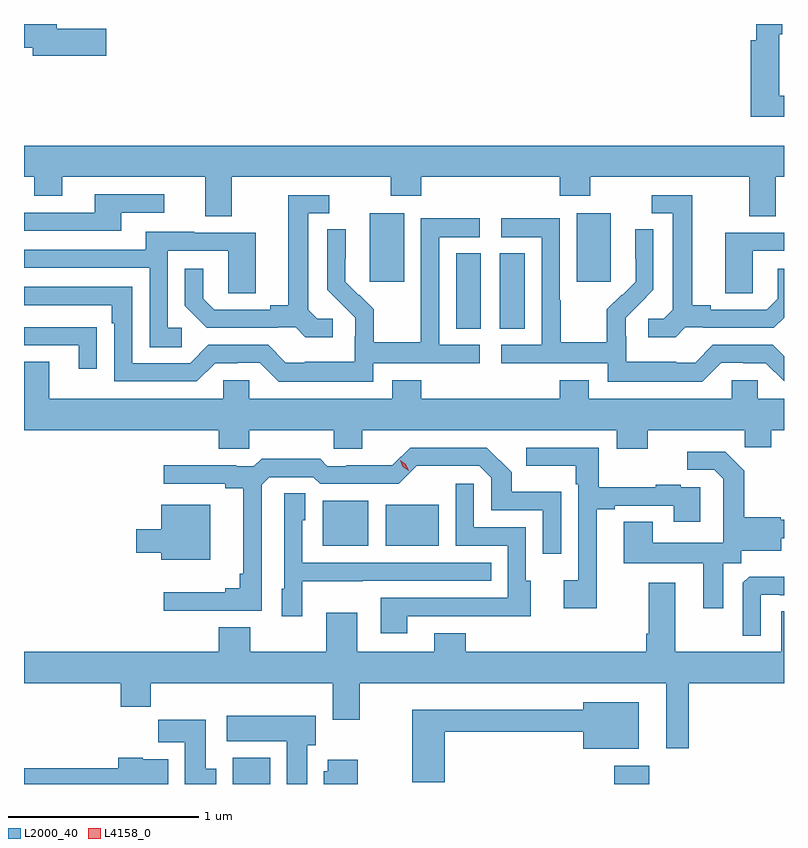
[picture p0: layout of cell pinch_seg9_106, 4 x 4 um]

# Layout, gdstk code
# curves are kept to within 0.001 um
import gdstk
lib = gdstk.Library(unit=1e-6, precision=1e-09)
def R(c, l, rs):  # rectangles x0, y0, x1, y1
    for r in rs: c.add(gdstk.rectangle(r[:2], r[2:], *l))
def P(c, l, *ps):  # polygons
    for p in ps: c.add(gdstk.Polygon(p, *l))
L2000_40 = (2000, 40)
L4158_0 = (4158, 0)

pinch_seg9_106 = lib.new_cell('pinch_seg9_106')
R(pinch_seg9_106, L2000_40, [(1118.111,1181.237,1118.308,1181.374), (1120.119,1181.237,1120.303,1181.332), (1118.585,1182.491,1118.824,1182.727), (1118.918,1182.491,1119.196,1182.706), (1119.287,1183.633,1119.418,1184.03), (1119.518,1183.633,1119.649,1184.03), (1118.834,1183.881,1119.013,1184.242), (1119.923,1183.881,1120.102,1184.242)])
P(pinch_seg9_106, L2000_40, [(1121.013,1184.86),(1120.988,1184.86),(1120.988,1185.182),(1121.003,1185.182),(1121.003,1185.237),(1120.867,1185.237),(1120.867,1185.151),(1120.838,1185.151),(1120.838,1184.75),(1121.013,1184.75)],
  [(1117.447,1185.212),(1117.186,1185.212),(1117.186,1185.237),(1117.013,1185.237),(1117.013,1185.112),(1117.058,1185.112),(1117.058,1185.07),(1117.447,1185.07)],
  [(1118.107,1184.432),(1118.944,1184.432),(1118.944,1184.333),(1119.104,1184.333),(1119.104,1184.432),(1119.833,1184.432),(1119.833,1184.333),(1119.993,1184.333),(1119.993,1184.432),(1120.829,1184.432),(1120.829,1184.224),(1120.969,1184.224),(1120.969,1184.432),(1121.013,1184.432),(1121.013,1184.596),(1117.013,1184.596),(1117.013,1184.432),(1117.066,1184.432),(1117.066,1184.333),(1117.213,1184.333),(1117.213,1184.432),(1117.967,1184.432),(1117.967,1184.224),(1118.107,1184.224)],
  [(1117.525,1184.244),(1117.75,1184.244),(1117.75,1184.34),(1117.385,1184.34),(1117.385,1184.244),(1117.013,1184.244),(1117.013,1184.148),(1117.525,1184.148)],
  [(1120.494,1183.641),(1120.588,1183.641),(1120.588,1183.638),(1120.96,1183.638),(1121.013,1183.691),(1121.013,1183.948),(1120.979,1183.948),(1120.979,1183.791),(1120.922,1183.734),(1120.627,1183.734),(1120.627,1183.757),(1120.531,1183.757),(1120.531,1184.337),(1120.317,1184.337),(1120.317,1184.241),(1120.427,1184.241),(1120.427,1183.733),(1120.38,1183.686),(1120.299,1183.686),(1120.299,1183.589),(1120.442,1183.589)],
  [(1118.638,1183.686),(1118.556,1183.686),(1118.509,1183.733),(1118.509,1184.241),(1118.62,1184.241),(1118.62,1184.337),(1118.405,1184.337),(1118.405,1183.757),(1118.309,1183.757),(1118.309,1183.734),(1118.014,1183.734),(1117.957,1183.791),(1117.957,1183.948),(1117.86,1183.948),(1117.86,1183.754),(1117.976,1183.638),(1118.348,1183.638),(1118.348,1183.641),(1118.442,1183.641),(1118.494,1183.589),(1118.638,1183.589)],
  [(1120.683,1183.455),(1120.799,1183.455),(1120.799,1183.452),(1120.917,1183.452),(1121.013,1183.356),(1121.013,1183.488),(1120.953,1183.548),(1120.638,1183.548),(1120.545,1183.455),(1120.445,1183.455),(1120.445,1183.459),(1120.182,1183.459),(1120.182,1183.593),(1120.18,1183.593),(1120.18,1183.69),(1120.326,1183.838),(1120.326,1184.156),(1120.23,1184.156),(1120.23,1184.002),(1120.232,1184.002),(1120.232,1183.88),(1120.161,1183.809),(1120.158,1183.812),(1120.081,1183.735),(1120.081,1183.561),(1119.837,1183.561),(1119.837,1183.784),(1119.834,1183.784),(1119.834,1184.214),(1119.525,1184.214),(1119.525,1184.115),(1119.738,1184.115),(1119.738,1183.548),(1119.525,1183.548),(1119.525,1183.452),(1120.086,1183.452),(1120.086,1183.355),(1120.583,1183.355)],
  [(1118.85,1183.452),(1119.412,1183.452),(1119.412,1183.548),(1119.198,1183.548),(1119.198,1184.115),(1119.412,1184.115),(1119.412,1184.214),(1119.102,1184.214),(1119.102,1183.784),(1119.1,1183.784),(1119.1,1183.561),(1118.855,1183.561),(1118.855,1183.735),(1118.778,1183.812),(1118.775,1183.809),(1118.705,1183.88),(1118.706,1184.156),(1118.61,1184.156),(1118.61,1183.838),(1118.756,1183.69),(1118.756,1183.593),(1118.754,1183.593),(1118.754,1183.459),(1118.491,1183.459),(1118.491,1183.455),(1118.391,1183.455),(1118.298,1183.548),(1117.983,1183.548),(1117.887,1183.452),(1117.584,1183.452),(1117.584,1183.854),(1117.013,1183.854),(1117.013,1183.758),(1117.475,1183.758),(1117.475,1183.661),(1117.488,1183.661),(1117.488,1183.356),(1117.923,1183.356),(1118.019,1183.452),(1118.138,1183.452),(1118.138,1183.455),(1118.253,1183.455),(1118.353,1183.355),(1118.85,1183.355)],
  [(1117.843,1183.638),(1117.77,1183.638),(1117.77,1184.043),(1118.088,1184.043),(1118.088,1183.819),(1118.233,1183.819),(1118.233,1184.139),(1117.909,1184.139),(1117.909,1184.143),(1117.655,1184.143),(1117.655,1184.049),(1117.015,1184.049),(1117.015,1183.953),(1117.674,1183.953),(1117.674,1183.537),(1117.843,1183.537)],
  [(1120.848,1184.043),(1121.013,1184.043),(1121.013,1184.139),(1120.703,1184.139),(1120.703,1183.819),(1120.848,1183.819)],
  [(1117.397,1183.64),(1117.295,1183.64),(1117.295,1183.641),(1117.013,1183.641),(1117.013,1183.545),(1117.301,1183.545),(1117.301,1183.422),(1117.397,1183.422)],
  [(1120.297,1183.1),(1120.807,1183.1),(1120.807,1183.01),(1120.945,1183.01),(1120.945,1183.1),(1121.013,1183.1),(1121.013,1183.264),(1120.875,1183.264),(1120.875,1183.362),(1120.737,1183.362),(1120.737,1183.264),(1119.985,1183.264),(1119.985,1183.363),(1119.833,1183.363),(1119.833,1183.264),(1119.104,1183.264),(1119.104,1183.363),(1118.951,1183.363),(1118.951,1183.264),(1118.199,1183.264),(1118.199,1183.362),(1118.061,1183.362),(1118.061,1183.264),(1117.147,1183.264),(1117.147,1183.459),(1117.013,1183.459),(1117.013,1183.1),(1118.039,1183.1),(1118.039,1183.002),(1118.199,1183.002),(1118.199,1183.1),(1118.644,1183.1),(1118.644,1183.002),(1118.794,1183.002),(1118.794,1183.1),(1120.133,1183.1),(1120.133,1183.001),(1120.297,1183.001)],
  [(1118.265,1182.813),(1118.304,1182.852),(1118.535,1182.852),(1118.571,1182.816),(1118.985,1182.816),(1119.08,1182.911),(1119.408,1182.912),(1119.471,1182.849),(1119.471,1182.678),(1119.744,1182.678),(1119.744,1182.45),(1119.84,1182.45),(1119.84,1182.775),(1119.579,1182.775),(1119.579,1182.878),(1119.448,1183.008),(1119.045,1183.008),(1118.951,1182.914),(1118.71,1182.914),(1118.71,1182.909),(1118.61,1182.909),(1118.571,1182.949),(1118.263,1182.949),(1118.223,1182.909),(1118.129,1182.909),(1118.129,1182.914),(1117.749,1182.914),(1117.749,1182.816),(1118.072,1182.816),(1118.072,1182.794),(1118.168,1182.794),(1118.168,1182.343),(1118.149,1182.343),(1118.149,1182.266),(1118.072,1182.266),(1118.072,1182.247),(1117.749,1182.247),(1117.749,1182.15),(1118.265,1182.15)],
  [(1120.027,1182.684),(1120.123,1182.684),(1120.123,1182.702),(1120.433,1182.702),(1120.433,1182.618),(1120.573,1182.618),(1120.573,1182.798),(1120.469,1182.798),(1120.469,1182.811),(1120.337,1182.811),(1120.337,1182.8),(1120.039,1182.8),(1120.039,1183.008),(1119.657,1183.008),(1119.657,1182.911),(1119.918,1182.911),(1119.918,1182.815),(1119.93,1182.815),(1119.93,1182.31),(1119.855,1182.31),(1119.855,1182.162),(1120.027,1182.162)],
  [(1120.693,1182.4),(1120.788,1182.4),(1120.788,1182.464),(1120.999,1182.464),(1120.999,1182.531),(1121.013,1182.531),(1121.013,1182.627),(1120.995,1182.627),(1120.995,1182.64),(1120.803,1182.64),(1120.803,1182.885),(1120.703,1182.985),(1120.503,1182.985),(1120.503,1182.891),(1120.647,1182.891),(1120.694,1182.844),(1120.694,1182.749),(1120.692,1182.749),(1120.692,1182.508),(1120.321,1182.508),(1120.321,1182.617),(1120.169,1182.617),(1120.169,1182.398),(1120.589,1182.398),(1120.589,1182.162),(1120.693,1182.162)],
  [(1119.031,1182.12),(1119.461,1182.12),(1119.461,1182.119),(1119.679,1182.119),(1119.679,1182.306),(1119.654,1182.306),(1119.654,1182.588),(1119.381,1182.588),(1119.381,1182.817),(1119.285,1182.817),(1119.285,1182.492),(1119.558,1182.492),(1119.558,1182.216),(1118.891,1182.216),(1118.891,1182.03),(1119.031,1182.03)],
  [(1118.478,1182.305),(1118.795,1182.305),(1118.795,1182.306),(1119.473,1182.306),(1119.473,1182.402),(1118.478,1182.402),(1118.478,1182.624),(1118.494,1182.624),(1118.494,1182.767),(1118.382,1182.767),(1118.382,1182.264),(1118.369,1182.264),(1118.369,1182.12),(1118.478,1182.12)],
  [(1117.993,1182.706),(1117.736,1182.706),(1117.736,1182.577),(1117.605,1182.577),(1117.605,1182.455),(1117.736,1182.455),(1117.736,1182.416),(1117.993,1182.416)],
  [(1120.89,1182.234),(1120.99,1182.234),(1120.99,1182.231),(1121.013,1182.231),(1121.013,1182.329),(1120.829,1182.329),(1120.797,1182.297),(1120.797,1182.017),(1120.89,1182.017)],
  [(1118.767,1182.139),(1118.603,1182.139),(1118.603,1181.932),(1118.203,1181.932),(1118.203,1182.061),(1118.039,1182.061),(1118.039,1181.932),(1117.013,1181.932),(1117.013,1181.768),(1117.523,1181.768),(1117.523,1181.644),(1117.679,1181.644),(1117.679,1181.768),(1118.639,1181.768),(1118.639,1181.574),(1118.779,1181.574),(1118.779,1181.768),(1120.394,1181.768),(1120.394,1181.424),(1120.511,1181.424),(1120.511,1181.768),(1121.013,1181.768),(1121.013,1182.146),(1120.998,1182.146),(1120.998,1181.932),(1120.441,1181.932),(1120.441,1182.295),(1120.301,1182.295),(1120.301,1182.028),(1120.289,1182.028),(1120.289,1181.932),(1119.337,1181.932),(1119.337,1182.031),(1119.173,1182.031),(1119.173,1181.932),(1118.767,1181.932)],
  [(1119.227,1181.512),(1119.956,1181.512),(1119.956,1181.423),(1120.249,1181.423),(1120.249,1181.668),(1119.956,1181.668),(1119.956,1181.629),(1119.056,1181.629),(1119.056,1181.247),(1119.227,1181.247)],
  [(1118.503,1181.442),(1118.548,1181.442),(1118.548,1181.596),(1118.079,1181.596),(1118.079,1181.462),(1118.396,1181.462),(1118.396,1181.237),(1118.503,1181.237)],
  [(1118.026,1181.316),(1117.969,1181.316),(1117.969,1181.575),(1117.72,1181.575),(1117.72,1181.456),(1117.859,1181.456),(1117.859,1181.237),(1118.026,1181.237)],
  [(1117.771,1181.368),(1117.638,1181.368),(1117.638,1181.374),(1117.508,1181.374),(1117.508,1181.32),(1117.013,1181.32),(1117.013,1181.237),(1117.771,1181.237)],
  [(1118.77,1181.365),(1118.612,1181.365),(1118.612,1181.304),(1118.591,1181.304),(1118.591,1181.237),(1118.77,1181.237)])
P(pinch_seg9_106, L4158_0, [(1119.037,1182.885),(1119.007,1182.907),(1118.992,1182.941),(1118.992,1182.941),(1118.992,1182.941),(1119.022,1182.919),(1119.037,1182.885),(1119.037,1182.885)])

lib.write_gds('pinch_seg9_106.gds')
